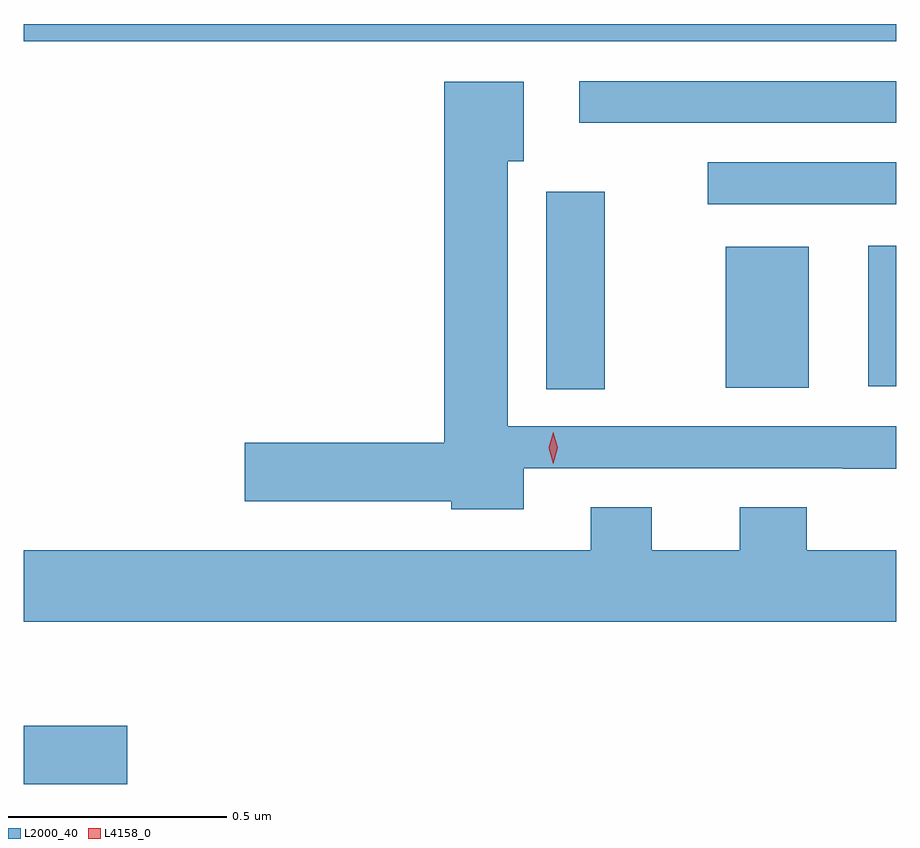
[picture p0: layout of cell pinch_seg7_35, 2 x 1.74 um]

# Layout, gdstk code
import gdstk
lib = gdstk.Library(unit=1e-6, precision=1e-09)
def R(c, l, rs):  # rectangles x0, y0, x1, y1
    for r in rs: c.add(gdstk.rectangle(r[:2], r[2:], *l))
def P(c, l, *ps):  # polygons
    for p in ps: c.add(gdstk.Polygon(p, *l))
L2000_40 = (2000, 40)
L4158_0 = (4158, 0)

pinch_seg7_35 = lib.new_cell('pinch_seg7_35')
R(pinch_seg7_35, L2000_40, [(1057.492,1062.848,1057.729,1062.982), (1058.69,1063.753,1058.824,1064.206), (1059.101,1063.757,1059.292,1064.08), (1059.428,1063.76,1059.492,1064.083), (1059.06,1064.178,1059.492,1064.274), (1058.766,1064.364,1059.492,1064.46), (1057.492,1064.552,1059.492,1064.591)])
P(pinch_seg7_35, L2000_40, [(1058.638,1063.572),(1059.37,1063.572),(1059.37,1063.571),(1059.492,1063.571),(1059.492,1063.668),(1058.602,1063.668),(1058.602,1064.276),(1058.638,1064.276),(1058.638,1064.458),(1058.456,1064.458),(1058.456,1063.631),(1057.998,1063.631),(1057.998,1063.496),(1058.472,1063.496),(1058.472,1063.478),(1058.638,1063.478)],
  [(1059.492,1063.384),(1059.287,1063.384),(1059.287,1063.483),(1059.134,1063.483),(1059.134,1063.384),(1058.932,1063.384),(1058.932,1063.483),(1058.792,1063.483),(1058.792,1063.384),(1057.492,1063.384),(1057.492,1063.22),(1059.492,1063.22)])
P(pinch_seg7_35, L4158_0, [(1058.706,1063.583),(1058.706,1063.583),(1058.696,1063.619),(1058.706,1063.655),(1058.706,1063.655),(1058.706,1063.655),(1058.716,1063.619),(1058.706,1063.583)])

lib.write_gds('pinch_seg7_35.gds')
